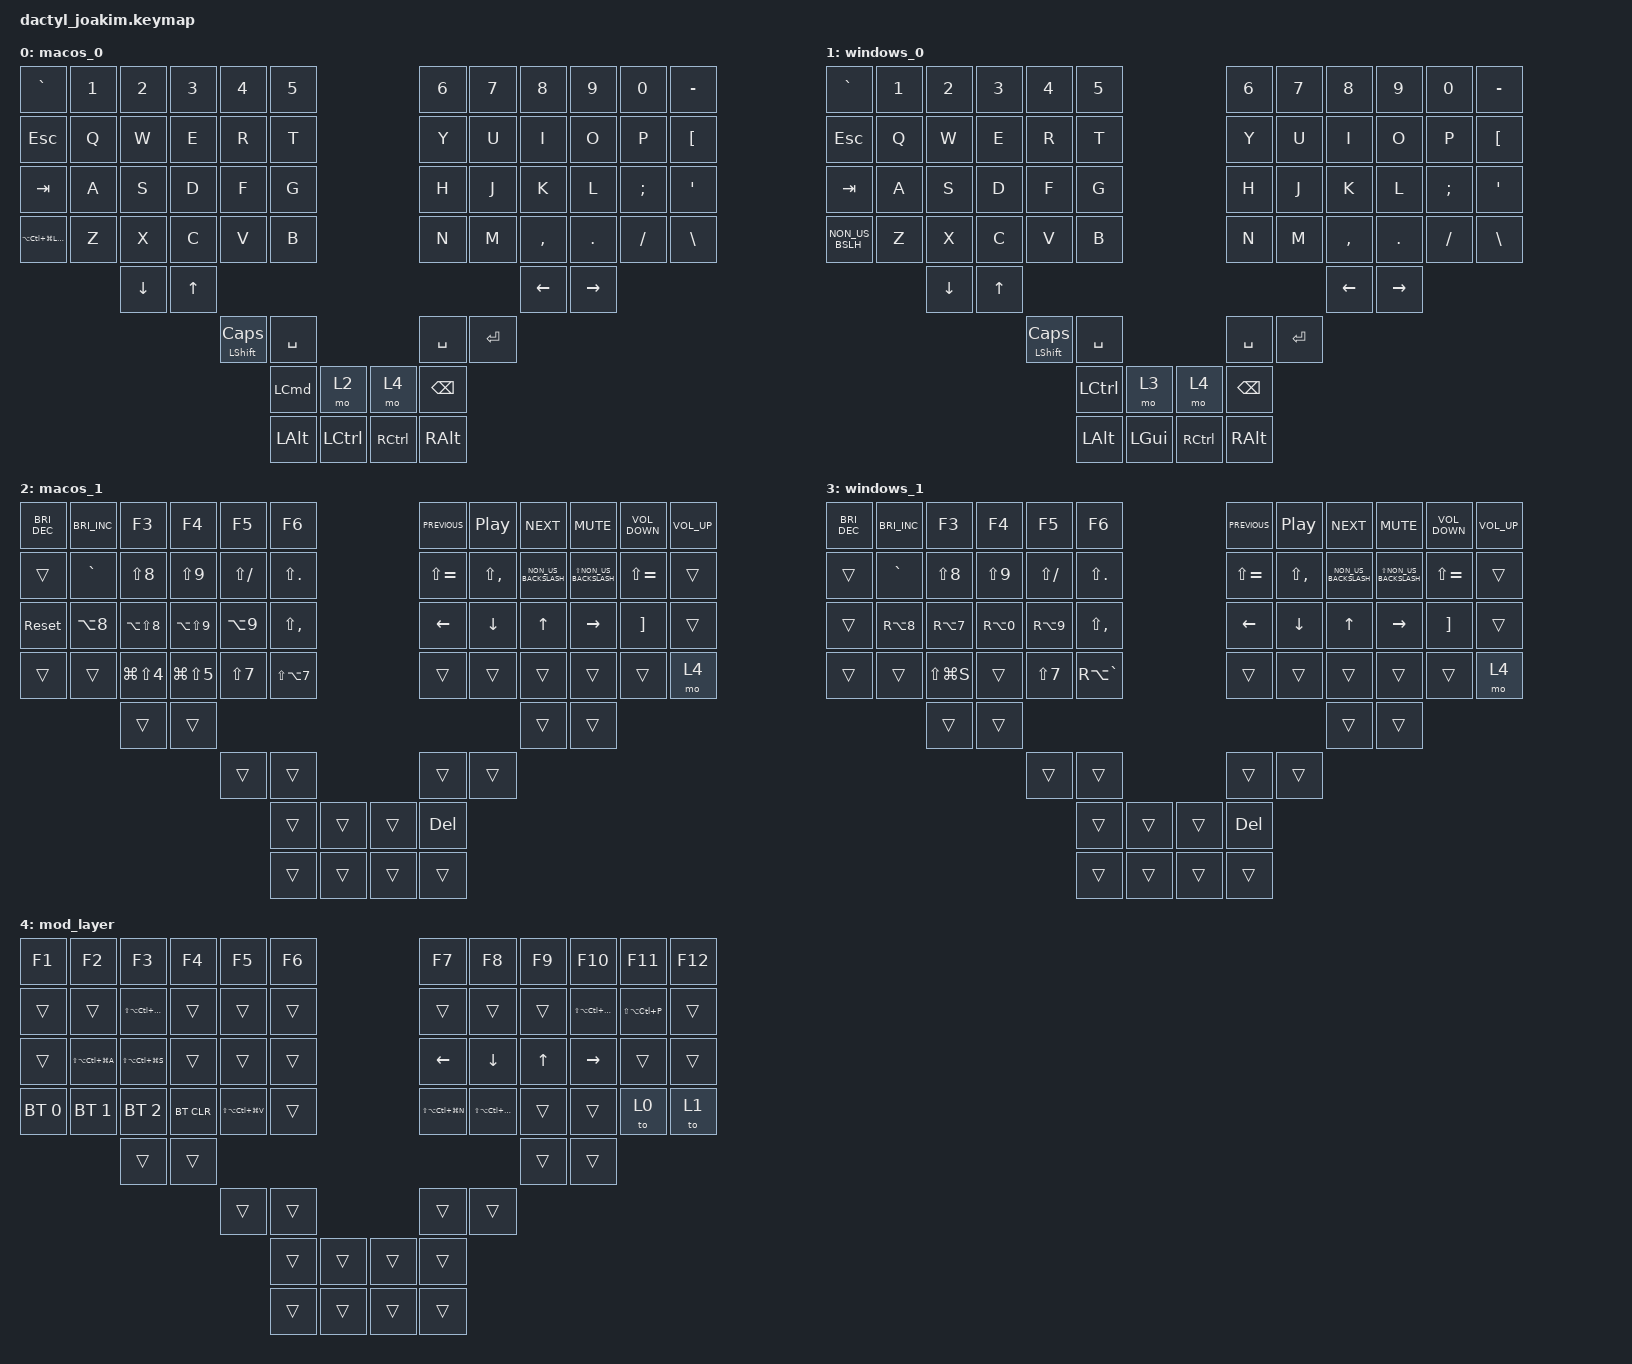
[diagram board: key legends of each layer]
#include <behaviors.dtsi>
#include <dt-bindings/zmk/bt.h>
#include <dt-bindings/zmk/keys.h>

#define DEFAULT 0
#define LWR 1

/ {
    behaviors {
        caps_shift: caps_shift {
            compatible = "zmk,behavior-hold-tap";
            label = "CAPS_SHIFT";
            bindings = <&kp>, <&kp>;

            #binding-cells = <2>;
            tapping-term-ms = <75>;
        };
    };

    keymap {
        compatible = "zmk,keymap";

        macos_0 {
            bindings = <
&kp GRAVE                   &kp N1  &kp N2    &kp N3  &kp N4                           &kp N5                                                 &kp N6         &kp N7     &kp N8     &kp N9     &kp N0    &kp MINUS
&kp ESCAPE                  &kp Q   &kp W     &kp E   &kp R                            &kp T                                                  &kp Y          &kp U      &kp I      &kp O      &kp P     &kp LEFT_BRACKET
&kp TAB                     &kp A   &kp S     &kp D   &kp F                            &kp G                                                  &kp H          &kp J      &kp K      &kp L      &kp SEMI  &kp SQT
&kp LA(LC(LG(LEFT_SHIFT)))  &kp Z   &kp X     &kp C   &kp V                            &kp B                                                  &kp N          &kp M      &kp COMMA  &kp DOT    &kp FSLH  &kp BACKSLASH
                                    &kp DOWN  &kp UP                                                                                                                    &kp LEFT   &kp RIGHT
                                                      &caps_shift LEFT_SHIFT CAPSLOCK  &kp SPACE                                              &kp SPACE      &kp ENTER
                                                                                       &kp LEFT_COMMAND  &mo 2             &mo 4              &kp BACKSPACE
                                                                                       &kp LEFT_ALT      &kp LEFT_CONTROL  &kp RIGHT_CONTROL  &kp RIGHT_ALT
            >;
        };

        windows_0 {
            bindings = <
&kp GRAVE        &kp N1  &kp N2    &kp N3  &kp N4                       &kp N5                          &kp N6         &kp N7     &kp N8     &kp N9     &kp N0    &kp MINUS
&kp ESC          &kp Q   &kp W     &kp E   &kp R                        &kp T                           &kp Y          &kp U      &kp I      &kp O      &kp P     &kp LBKT
&kp TAB          &kp A   &kp S     &kp D   &kp F                        &kp G                           &kp H          &kp J      &kp K      &kp L      &kp SEMI  &kp APOS
&kp NON_US_BSLH  &kp Z   &kp X     &kp C   &kp V                        &kp B                           &kp N          &kp M      &kp COMMA  &kp DOT    &kp FSLH  &kp BACKSLASH
                         &kp DOWN  &kp UP                                                                                         &kp LEFT   &kp RIGHT
                                           &caps_shift LEFT_SHIFT CAPS  &kp SPACE                       &kp SPACE      &kp ENTER
                                                                        &kp LCTRL  &mo 3     &mo 4      &kp BSPC
                                                                        &kp LALT   &kp LGUI  &kp RCTRL  &kp RIGHT_ALT
            >;
        };

        macos_1 {
            bindings = <
&kp C_BRI_DEC  &kp C_BRI_INC  &kp F3                &kp F4                &kp F5         &kp F6                                &kp C_PREVIOUS  &kp C_PLAY_PAUSE  &kp C_NEXT            &kp C_MUTE                &kp C_VOLUME_DOWN  &kp C_VOLUME_UP
&trans         &kp GRAVE      &kp LS(N8)            &kp LS(N9)            &kp LS(SLASH)  &kp LS(PERIOD)                        &kp LS(EQUAL)   &kp LS(COMMA)     &kp NON_US_BACKSLASH  &kp LS(NON_US_BACKSLASH)  &kp LS(EQUAL)      &trans
&sys_reset     &kp LA(N8)     &kp LA(LS(N8))        &kp LA(LS(N9))        &kp LA(N9)     &kp LS(COMMA)                         &kp LEFT        &kp DOWN          &kp UP                &kp RIGHT                 &kp RIGHT_BRACKET  &trans
&trans         &trans         &kp LG(LS(NUMBER_4))  &kp LG(LS(NUMBER_5))  &kp LS(N7)     &kp LS(LA(NUMBER_7))                  &trans          &trans            &trans                &trans                    &trans             &mo 4
                              &trans                &trans                                                                                                       &trans                &trans
                                                                          &trans         &trans                                &trans          &trans
                                                                                         &trans                &trans  &trans  &kp DELETE
                                                                                         &trans                &trans  &trans  &trans
            >;
        };

        windows_1 {
            bindings = <
&kp C_BRIGHTNESS_DEC  &kp C_BRIGHTNESS_INC  &kp F3            &kp F4            &kp F5            &kp F6                          &kp C_PREVIOUS  &kp C_PLAY_PAUSE  &kp C_NEXT            &kp C_MUTE                &kp C_VOLUME_DOWN  &kp C_VOLUME_UP
&trans                &kp GRAVE             &kp LS(NUMBER_8)  &kp LS(NUMBER_9)  &kp LS(SLASH)     &kp LS(PERIOD)                  &kp LS(EQUAL)   &kp LS(COMMA)     &kp NON_US_BACKSLASH  &kp LS(NON_US_BACKSLASH)  &kp LS(EQUAL)      &trans
&trans                &kp RA(NUMBER_8)      &kp RA(NUMBER_7)  &kp RA(NUMBER_0)  &kp RA(NUMBER_9)  &kp LS(COMMA)                   &kp LEFT_ARROW  &kp DOWN_ARROW    &kp UP_ARROW          &kp RIGHT                 &kp RIGHT_BRACKET  &trans
&trans                &trans                &kp LS(LG(S))     &trans            &kp LS(NUMBER_7)  &kp RA(GRAVE)                   &trans          &trans            &trans                &trans                    &trans             &mo 4
                                            &trans            &trans                                                                                                &trans                &trans
                                                                                &trans            &trans                          &trans          &trans
                                                                                                  &trans          &trans  &trans  &kp DELETE
                                                                                                  &trans          &trans  &trans  &trans
            >;
        };

        mod_layer {
            bindings = <
&kp F1        &kp F2                 &kp F3                 &kp F4      &kp F5                 &kp F6                  &kp F7                 &kp F8                 &kp F9  &kp F10                &kp F11            &kp F12
&trans        &trans                 &kp LS(LA(LC(LG(W))))  &trans      &trans                 &trans                  &trans                 &trans                 &trans  &kp LS(LA(LC(LG(O))))  &kp LS(LA(LC(P)))  &trans
&trans        &kp LS(LA(LC(LG(A))))  &kp LS(LA(LC(LG(S))))  &trans      &trans                 &trans                  &kp LEFT               &kp DOWN               &kp UP  &kp RIGHT              &trans             &trans
&bt BT_SEL 0  &bt BT_SEL 1           &bt BT_SEL 2           &bt BT_CLR  &kp LS(LA(LC(LG(V))))  &trans                  &kp LS(LA(LC(LG(N))))  &kp LS(LA(LC(LG(M))))  &trans  &trans                 &to 0              &to 1
                                     &trans                 &trans                                                                                                   &trans  &trans
                                                                        &trans                 &trans                  &trans                 &trans
                                                                                               &trans  &trans  &trans  &trans
                                                                                               &trans  &trans  &trans  &trans
            >;
        };
    };
};
